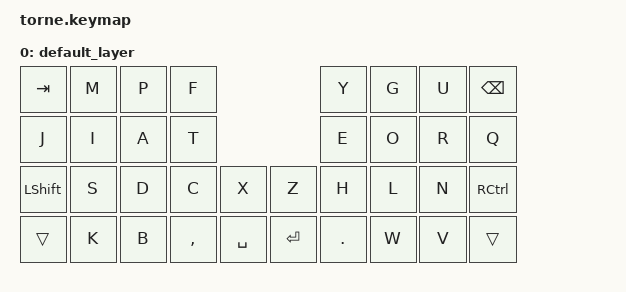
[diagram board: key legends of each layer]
#include <behaviors.dtsi>
#include <dt-bindings/zmk/keys.h>

/ {
    keymap {
        compatible = "zmk,keymap";

        default_layer {
            bindings = <
&kp TAB    &kp M &kp P &kp F                        &kp Y   &kp G &kp U &kp BSPC
&kp J      &kp I &kp A &kp T                        &kp E   &kp O &kp R &kp Q
&kp LSHIFT &kp S &kp D &kp C      &kp X     &kp Z   &kp H   &kp L &kp N &kp RCTRL
&trans     &kp K &kp B &kp COMMA  &kp SPACE &kp RET &kp DOT &kp W &kp V &trans
            >;
        };
    };
};
